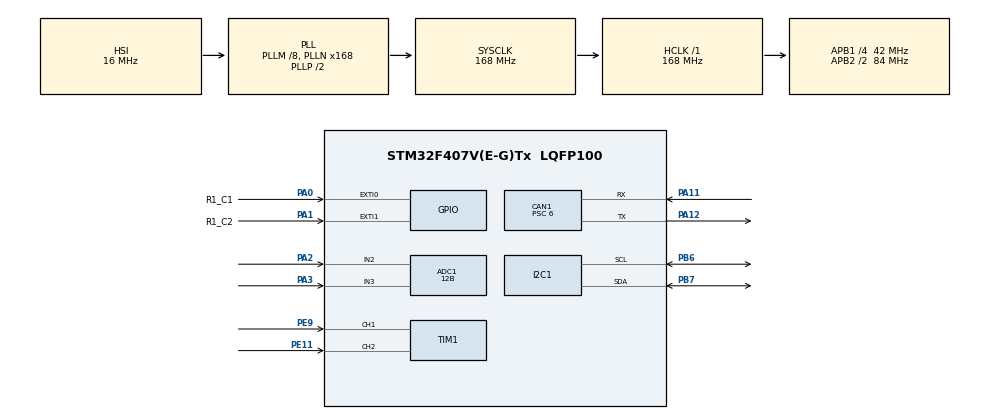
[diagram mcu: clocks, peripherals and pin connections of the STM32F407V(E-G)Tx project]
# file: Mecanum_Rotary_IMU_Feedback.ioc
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ADC1.Channel-1\#ChannelRegularConversion=ADC_CHANNEL_2
ADC1.Channel-2\#ChannelRegularConversion=ADC_CHANNEL_3
ADC1.ContinuousConvMode=ENABLE
ADC1.NbrOfConversion=2
ADC1.NbrOfConversionFlag=1
ADC1.Rank-1\#ChannelRegularConversion=1
ADC1.Rank-2\#ChannelRegularConversion=2
ADC1.Resolution=ADC_RESOLUTION_12B
ADC1.SamplingTime-1\#ChannelRegularConversion=ADC_SAMPLETIME_3CYCLES
ADC1.SamplingTime-2\#ChannelRegularConversion=ADC_SAMPLETIME_480CYCLES
ADC1.master=1
CAN1.BS1=CAN_BS1_4TQ
CAN1.BS2=CAN_BS2_2TQ
CAN1.CalculateBaudRate=1000000
CAN1.CalculateTimeBit=1000
CAN1.CalculateTimeQuantum=142.85714285714286
CAN1.Prescaler=6
Dma.ADC1.0.Direction=DMA_PERIPH_TO_MEMORY
Dma.ADC1.0.FIFOMode=DMA_FIFOMODE_DISABLE
Dma.ADC1.0.Instance=DMA2_Stream0
Dma.ADC1.0.MemDataAlignment=DMA_MDATAALIGN_HALFWORD
Dma.ADC1.0.MemInc=DMA_MINC_ENABLE
Dma.ADC1.0.Mode=DMA_CIRCULAR
Dma.ADC1.0.PeriphDataAlignment=DMA_PDATAALIGN_HALFWORD
Dma.ADC1.0.PeriphInc=DMA_PINC_DISABLE
Dma.ADC1.0.Priority=DMA_PRIORITY_LOW
Dma.Request0=ADC1
FREERTOS.Tasks01=RotaryIMU_Task,0,2100,RotaryIMU_Init,Default,NULL,Dynamic,NULL,NULL
I2C1.I2C_Mode=I2C_Fast
Mcu.Family=STM32F4
Mcu.Name=STM32F407V(E-G)Tx
Mcu.Package=LQFP100
NVIC.CAN1_RX0_IRQn=true\:5\:0\:false\:false\:true\:true\:true\:true\:true
NVIC.DMA2_Stream0_IRQn=true\:5\:0\:false\:false\:true\:true\:false\:true\:true
NVIC.EXTI0_IRQn=true\:5\:0\:false\:false\:true\:true\:true\:true\:true
NVIC.EXTI1_IRQn=true\:5\:0\:false\:false\:true\:true\:true\:true\:true
NVIC.PriorityGroup=NVIC_PRIORITYGROUP_4
NVIC.TIM3_IRQn=true\:5\:0\:false\:false\:true\:true\:true\:true\:true
NVIC.TIM6_DAC_IRQn=true\:15\:0\:false\:false\:true\:false\:false\:true\:true
NVIC.TimeBase=TIM6_DAC_IRQn
NVIC.TimeBaseIP=TIM6
PA0-WKUP.GPIO_Label=R1_C1
PA0-WKUP.GPIO_ModeDefaultEXTI=GPIO_MODE_IT_RISING_FALLING
PA0-WKUP.GPIO_PuPd=GPIO_PULLUP
PA0-WKUP.Signal=GPXTI0
PA1.GPIO_Label=R1_C2
PA1.GPIO_ModeDefaultEXTI=GPIO_MODE_IT_RISING_FALLING
PA1.GPIO_PuPd=GPIO_PULLUP
PA1.Signal=GPXTI1
PA11.Mode=CAN_Activate
PA11.Signal=CAN1_RX
PA12.Mode=CAN_Activate
PA12.Signal=CAN1_TX
PA13.Mode=Serial_Wire
PA13.Signal=SYS_JTMS-SWDIO
PA14.Mode=Serial_Wire
PA14.Signal=SYS_JTCK-SWCLK
PA2.Signal=ADCx_IN2
PA3.Signal=ADCx_IN3
PB6.Mode=I2C
PB6.Signal=I2C1_SCL
PB7.Mode=I2C
PB7.Signal=I2C1_SDA
PE11.Signal=S_TIM1_CH2
PE9.Signal=S_TIM1_CH1
PH0-OSC_IN.Mode=HSE-External-Oscillator
PH0-OSC_IN.Signal=RCC_OSC_IN
PH1-OSC_OUT.Mode=HSE-External-Oscillator
PH1-OSC_OUT.Signal=RCC_OSC_OUT
ProjectManager.HeapSize=0x200
ProjectManager.StackSize=0x400
ProjectManager.TargetToolchain=STM32CubeIDE
RCC.48MHZClocksFreq_Value=84000000
RCC.AHBFreq_Value=168000000
RCC.APB1CLKDivider=RCC_HCLK_DIV4
RCC.APB1Freq_Value=42000000
RCC.APB1TimFreq_Value=84000000
RCC.APB2CLKDivider=RCC_HCLK_DIV2
RCC.APB2Freq_Value=84000000
RCC.APB2TimFreq_Value=168000000
RCC.CortexFreq_Value=168000000
RCC.HCLKFreq_Value=168000000
RCC.HSE_VALUE=8000000
RCC.HSI_VALUE=16000000
RCC.LSE_VALUE=32768
RCC.PLLM=8
RCC.PLLN=168
RCC.SYSCLKFreq_VALUE=168000000
RCC.SYSCLKSource=RCC_SYSCLKSOURCE_PLLCLK
RCC.VCOOutputFreq_Value=336000000
SH.ADCx_IN2.0=ADC1_IN2,IN2
SH.ADCx_IN3.0=ADC1_IN3,IN3
SH.S_TIM1_CH1.0=TIM1_CH1,Encoder_Interface
SH.S_TIM1_CH2.0=TIM1_CH2,Encoder_Interface
TIM1.AutoReloadPreload=TIM_AUTORELOAD_PRELOAD_ENABLE
TIM1.EncoderMode=TIM_ENCODERMODE_TI12
TIM3.AutoReloadPreload=TIM_AUTORELOAD_PRELOAD_ENABLE
TIM3.Period=9999
TIM3.Prescaler=83
VP_FREERTOS_VS_CMSIS_V1.Mode=CMSIS_V1
VP_SYS_VS_tim6.Mode=TIM6
VP_TIM3_VS_ClockSourceINT.Mode=Internal
board=custom

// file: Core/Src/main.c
/* USER CODE BEGIN Header */
/**
  ******************************************************************************
  * @file           : main.c
  * @brief          : Main program body
  ******************************************************************************
  * @attention
  *
  * Copyright (c) 2023 STMicroelectronics.
  * All rights reserved.
  *
  * This software is licensed under terms that can be found in the LICENSE file
  * in the root directory of this software component.
  * If no LICENSE file comes with this software, it is provided AS-IS.
  *
  ******************************************************************************
  */
/* USER CODE END Header */
#include "main.h"
#include "cmsis_os.h"
#include "adc.h"
#include "can.h"
#include "dma.h"
#include "i2c.h"
#include "tim.h"
#include "gpio.h"

/* USER CODE BEGIN Includes */
#include <stdio.h>
#include "stdlib.h"
#include "math.h"
/* USER CODE END Includes */

/* USER CODE BEGIN PTD */
CAN_RxHeaderTypeDef RxHeader;
CAN_TxHeaderTypeDef TxHeader;
typedef struct{
	uint32_t counter;
	uint32_t new_counter;
	uint8_t counter_status;
	float speed;
	float rdps;
	double distant;
}Encoder;
Encoder encoder0;
Encoder encoder1;
/* USER CODE END PTD */

/* USER CODE BEGIN PD */
#define PI 3.1456
#define r 0.03 //[Radius m]
#define CPR_X 1440
#define CPR_Y 1440
#define sampling_time  10 //[10ms]
#define dt 0.01
#define rotary1 0
#define rotary2 1
/* USER CODE END PD */

/* USER CODE BEGIN PV */
//----------CAN----------------//
uint8_t TxData[6];
uint32_t TxMailbox;
uint16_t V1_out = 0;
uint16_t V2_out = 0;
uint16_t V3_out = 0;
uint16_t V4_out = 0;
uint16_t Vx = 0;
uint16_t Vy = 0;
uint16_t Omega = 0;
float Speed;

uint8_t RxData[8];
//float V;
float W1;
float W2;
float X_enR;
float Y_enR;
float Yaw_enR;
float yaw_enR;
float X_old_enR;
float Y_old_enR;
float Vx_enR;
float Vy_enR;

// CAN RX
float RxData1 = 0;
float RxData2 = 0;
float RxData3 = 0;
float RxData4 = 0;
uint8_t datacheck = 0;
uint8_t cntt;
float V1_back;
float V2_back;
float V3_back;
float V4_back;

//Varible to read Encoder through External Interrupt
float nowA[4];
float nowB[4];
float lastA[4];
float lastB[4];
float dir[4];
float cnt[4];
float Enc_count[4];
float X_distance;
float Y_distance;
float Encoder_distance;
float old_count[2];
float new_count[2];
float wheel_velocity_encoder[2];

//laser
uint16_t AD_RES[2];
uint16_t cal_adc = 0;
extern double theta;

/* USER CODE END PV */

void SystemClock_Config(void);
void MX_FREERTOS_Init(void);
/* USER CODE BEGIN PFP */
float map(float Input, float Min_Input , float Max_Input ,float Min_Output, float Max_Output){

	return (float) ((Input - Min_Input) * (Max_Output - Min_Output) / (Max_Input - Min_Input) + Min_Output);
}

void HAL_CAN_RxFifo0MsgPendingCallback(CAN_HandleTypeDef *hcan) {
	HAL_CAN_GetRxMessage(hcan, CAN_RX_FIFO0, &RxHeader, RxData);
	cntt++;
	while (cntt - 100 > 0) {
		//HAL_GPIO_TogglePin(GPIOC, GPIO_PIN_13);
		cntt = 0;
	}

	if (RxHeader.StdId == 0x215) {
			RxData1 = (RxData[0] << 8) | RxData[1];
			RxData2 = (RxData[2] << 8) | RxData[3];
			V1_back = map(RxData1, 0, 65535, -30.0, 30.0);
			V2_back = map(RxData2, 0, 65535, -30.0, 30.0);
			datacheck = 1;
	}
	else if (RxHeader.StdId == 0x211) {
			RxData3 = (RxData[0] << 8) | RxData[1];
			RxData4 = (RxData[2] << 8) | RxData[3];
			V3_back = map(RxData3, 0, 65535, -30.0, 30.0);
			V4_back = map(RxData4, 0, 65535, -30.0, 30.0);
			datacheck = 1;
	}
}

float encoder(int i)
{
	if (nowA[i] != lastA[i])
	{
		lastA[i] = nowA[i];
		if (lastA[i] == 0)
		{
			if (nowB[i] == 0)
			{
				dir[i] = 0;
				cnt[i]--;
			}
			else
			{
				dir[i] = 1;
				cnt[i]++;
			}
		}
		else
		{
			if (nowB[i] == 1)
			{
				dir[i] = 0;
				cnt[i]--;
			}
			else
			{
				dir[i] = 1;
				cnt[i]++;
			}
		}
	}
	if (nowB[i] != lastB[i])
	{
		lastB[i] = nowB[i];
		if (lastB[i] == 0)
		{
			if (nowA[i] == 1)
			{
				dir[i] = 0;
				cnt[i]--;
			}
			else
			{
				dir[i] = 1;
				cnt[i]++;
			}
		}
		else
		{
			if (nowA[i] == 0)
			{
				dir[i] = 0;
				cnt[i]--;
			}
			else
			{
				dir[i] = 1;
				cnt[i]++;
			}
		}
	}
	return cnt[i];
}

float Speed_encoder(int i, float CPR)
{
	new_count[i] = Enc_count[i];
	wheel_velocity_encoder[i] = (2.0 *PI *(new_count[i] - old_count[i]) * r) / (CPR * dt);
	old_count[i] = new_count[i];
	return wheel_velocity_encoder[i];
}
void read_encoder(Encoder *enc, TIM_HandleTypeDef* timer){
	enc->new_counter = __HAL_TIM_GET_COUNTER(timer);
	enc->counter_status = __HAL_TIM_IS_TIM_COUNTING_DOWN(timer);
	int16_t count_change = enc->new_counter - enc->counter;
	if(enc->counter_status && count_change <0){
		count_change += 65536;
	}else if (!enc->counter_status && count_change > 0){
		count_change -= 65536;
	}
	enc->counter = enc->new_counter;
	enc->counter_status = (count_change >=0);
	enc->speed = (float)count_change*1000.0f/(CPR_X * sampling_time);
	enc->rdps = (float)count_change*2*PI*1000.0f/(CPR_X * sampling_time);
}
/* USER CODE END PFP */

int main(void)
{

  /* MCU Configuration--------------------------------------------------------*/

  /* Reset of all peripherals, Initializes the Flash interface and the Systick. */
  HAL_Init();

  /* Configure the system clock */
  SystemClock_Config();

  /* Initialize all configured peripherals */
  MX_GPIO_Init();
  MX_DMA_Init();
  MX_CAN1_Init();
  MX_I2C1_Init();
  MX_TIM3_Init();
  MX_TIM1_Init();
  MX_ADC1_Init();
  /* USER CODE BEGIN 2 */

  // CAN _Transmition
  	HAL_CAN_Start(&hcan1);
  	HAL_CAN_ActivateNotification(&hcan1, CAN_IT_RX_FIFO0_MSG_PENDING);
  	TxHeader.DLC =6; // data length
  	TxHeader.IDE = CAN_ID_STD;
  	TxHeader.RTR = CAN_RTR_DATA;
  	TxHeader.StdId = 0x407; //Id 0x7FF
  	// TIMER Internal clock
  	HAL_TIM_Encoder_Start(&htim1,TIM_CHANNEL_ALL);
  	HAL_TIM_Base_Start_IT(&htim3);

  	//ADC
//  	HAL_ADCEx_(&hadc1);
//  	HAL_ADC_Start_DMA(&hadc1, &AD_RES, 2);
  /* USER CODE END 2 */

  /* Call init function for freertos objects (in freertos.c) */
  MX_FREERTOS_Init();

  /* Start scheduler */
  osKernelStart();
  /* We should never get here as control is now taken by the scheduler */
  /* Infinite loop */
  while (1)
  {

  }
}

void SystemClock_Config(void)
{
  RCC_OscInitTypeDef RCC_OscInitStruct = {0};
  RCC_ClkInitTypeDef RCC_ClkInitStruct = {0};

  /** Configure the main internal regulator output voltage
  */
  __HAL_RCC_PWR_CLK_ENABLE();
  __HAL_PWR_VOLTAGESCALING_CONFIG(PWR_REGULATOR_VOLTAGE_SCALE1);

  /** Initializes the RCC Oscillators according to the specified parameters
  * in the RCC_OscInitTypeDef structure.
  */
  RCC_OscInitStruct.OscillatorType = RCC_OSCILLATORTYPE_HSI;
  RCC_OscInitStruct.HSIState = RCC_HSI_ON;
  RCC_OscInitStruct.HSICalibrationValue = RCC_HSICALIBRATION_DEFAULT;
  RCC_OscInitStruct.PLL.PLLState = RCC_PLL_ON;
  RCC_OscInitStruct.PLL.PLLSource = RCC_PLLSOURCE_HSI;
  RCC_OscInitStruct.PLL.PLLM = 8;
  RCC_OscInitStruct.PLL.PLLN = 168;
  RCC_OscInitStruct.PLL.PLLP = RCC_PLLP_DIV2;
  RCC_OscInitStruct.PLL.PLLQ = 4;
  if (HAL_RCC_OscConfig(&RCC_OscInitStruct) != HAL_OK)
  {
    Error_Handler();
  }

  /** Initializes the CPU, AHB and APB buses clocks
  */
  RCC_ClkInitStruct.ClockType = RCC_CLOCKTYPE_HCLK|RCC_CLOCKTYPE_SYSCLK
                              |RCC_CLOCKTYPE_PCLK1|RCC_CLOCKTYPE_PCLK2;
  RCC_ClkInitStruct.SYSCLKSource = RCC_SYSCLKSOURCE_PLLCLK;
  RCC_ClkInitStruct.AHBCLKDivider = RCC_SYSCLK_DIV1;
  RCC_ClkInitStruct.APB1CLKDivider = RCC_HCLK_DIV4;
  RCC_ClkInitStruct.APB2CLKDivider = RCC_HCLK_DIV2;

  if (HAL_RCC_ClockConfig(&RCC_ClkInitStruct, FLASH_LATENCY_5) != HAL_OK)
  {
    Error_Handler();
  }
}

/* USER CODE BEGIN 4 */
void HAL_GPIO_EXTI_Callback(uint16_t GPIO_Pin)
{
	// ENCODER Rotary 1
	if (GPIO_Pin == R1_C1_Pin || R1_C2_Pin)
	{
		nowA[0] = HAL_GPIO_ReadPin(R1_C1_GPIO_Port, R1_C1_Pin);
		nowB[0] = HAL_GPIO_ReadPin(R1_C2_GPIO_Port, R1_C2_Pin);
		Enc_count[0] = encoder(0);

	}
	// ENCODER Rotary 2
//	if (GPIO_Pin == E2_C1_Pin || E2_C2_Pin)
//	{
//		nowA[1] = HAL_GPIO_ReadPin(E2_C1_GPIO_Port, E2_C1_Pin);
//		nowB[1] = HAL_GPIO_ReadPin(E2_C2_GPIO_Port, E2_C2_Pin);
//		Enc_count[1] = encoder(1);
//	}

}
/* USER CODE END 4 */

void HAL_TIM_PeriodElapsedCallback(TIM_HandleTypeDef *htim)
{
  /* USER CODE BEGIN Callback 0 */
	if (htim->Instance == TIM3)
	  {
		read_encoder(&encoder0, &htim1);
		W1 = -1*Speed_encoder(rotary1, CPR_X);
		W2 = encoder0.rdps * r;
		Vx_enR = W1 * cosf(theta) - W2 * sinf(theta);
		Vy_enR = W1 * sinf(theta) + W2 * cosf(theta);

		X_enR = X_old_enR + Vx_enR * dt;
		Y_enR = Y_old_enR + Vy_enR * dt;
		X_old_enR = X_enR;
		Y_old_enR = Y_enR;

		Vx = map(Vx_enR, -30.0, 30.0, 0, 65535);
		Vy = map(Vy_enR, -30.0, 30.0, 0, 65535);
		Omega = map(theta, -6.28, 6.28, 0, 65535);

		TxData[0] = ((Vx & 0xFF00) >> 8);
		TxData[1] = (Vx & 0x00FF);
		TxData[2] = ((Vy & 0xFF00) >> 8);
		TxData[3] = (Vy & 0x00FF);
		TxData[4] = ((Omega & 0xFF00) >> 8);
		TxData[5] = (Omega & 0x00FF);

		HAL_CAN_AddTxMessage(&hcan1, &TxHeader, TxData, &TxMailbox);
	  }
  /* USER CODE END Callback 0 */
  if (htim->Instance == TIM6) {
    HAL_IncTick();
  }
}

void Error_Handler(void)
{
  __disable_irq();
  while (1)
  {
  }
}

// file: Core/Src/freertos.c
/* USER CODE BEGIN Header */
/**
  ******************************************************************************
  * File Name          : freertos.c
  * Description        : Code for freertos applications
  ******************************************************************************
  * @attention
  *
  * Copyright (c) 2023 STMicroelectronics.
  * All rights reserved.
  *
  * This software is licensed under terms that can be found in the LICENSE file
  * in the root directory of this software component.
  * If no LICENSE file comes with this software, it is provided AS-IS.
  *
  ******************************************************************************
  */
/* USER CODE END Header */

#include "FreeRTOS.h"
#include "task.h"
#include "main.h"
#include "cmsis_os.h"

/* USER CODE BEGIN Includes */
#include "tim.h"
#include "i2c.h"
#include "ssd1306.h"
#include "bno055_stm32.h"
#include "bno055.h"
#include "fonts.h"
#include "math.h"
#include "IIRFilter.h"
#include <stdio.h>
#include "stdlib.h"
/* USER CODE END Includes */

/* USER CODE BEGIN PTD */
typedef struct {
	double Roll;
	double Pitch;
	double Yaw;
}Rotation;

Rotation Angle;
bno055_vector_t V;
bno055_vector_t Q;
/* USER CODE END PTD */

/* USER CODE BEGIN PD */

//Wheel
#define R 0.05
#define lx 0.165  //m
#define ly 0.225  //m
#define d1 0.05
#define d2 0.15

//IMU

/* USER CODE END PD */

/* USER CODE BEGIN Variables */

// IMU
float Radian;
double sinr_cosp;
double cosr_cosp;
double sinp;
double siny_cosp;
double cosy_cosp;
double Heading;
double previous_heading =0.0;
float heading;
double theta;
//float theta;
double angle; // Angle in degrees
double radians;

/*Apply Method IIRfilter*/

float gyroFiltered[3];
float accelFiltered[3];

IIRFilter gyroADC[3];
IIRFilter accelADC[3];

float acc[3];
float gyr[3];
uint8_t Data;
uint8_t Check;

/* USER CODE END Variables */
osThreadId RotaryIMU_TaskHandle;

/* USER CODE BEGIN FunctionPrototypes */
float Map(float Input, float Min_Input , float Max_Input ,float Min_Output, float Max_Output){

	return (float) ((Input - Min_Input) * (Max_Output - Min_Output) / (Max_Input - Min_Input) + Min_Output);
}

//void read_encoder(Encoder *enc, TIM_HandleTypeDef* timer){
//	enc->new_counter = __HAL_TIM_GET_COUNTER(timer);
//	enc->counter_status = __HAL_TIM_IS_TIM_COUNTING_DOWN(timer);
//	int16_t count_change = enc->new_counter - enc->counter;
//	if(enc->counter_status && count_change <0){
//		count_change += 65536;
//	}else if (!enc->counter_status && count_change > 0){
//		count_change -= 65536;
//	}
//	enc->counter = enc->new_counter;
//	enc->counter_status = (count_change >=0);
//	enc->speed = (float)count_change*1000.0f/(CPR_X * sampling_time);
//	enc->rdps = (float)count_change*2*PI*1000.0f/(CPR_X * sampling_time);
//}

/* USER CODE END FunctionPrototypes */

void RotaryIMU_Init(void const * argument);

void MX_FREERTOS_Init(void); /* (MISRA C 2004 rule 8.1) */

/* GetIdleTaskMemory prototype (linked to static allocation support) */
void vApplicationGetIdleTaskMemory( StaticTask_t **ppxIdleTaskTCBBuffer, StackType_t **ppxIdleTaskStackBuffer, uint32_t *pulIdleTaskStackSize );

/* USER CODE BEGIN GET_IDLE_TASK_MEMORY */
static StaticTask_t xIdleTaskTCBBuffer;
static StackType_t xIdleStack[configMINIMAL_STACK_SIZE];

void vApplicationGetIdleTaskMemory( StaticTask_t **ppxIdleTaskTCBBuffer, StackType_t **ppxIdleTaskStackBuffer, uint32_t *pulIdleTaskStackSize )
{
  *ppxIdleTaskTCBBuffer = &xIdleTaskTCBBuffer;
  *ppxIdleTaskStackBuffer = &xIdleStack[0];
  *pulIdleTaskStackSize = configMINIMAL_STACK_SIZE;
  /* place for user code */
}
/* USER CODE END GET_IDLE_TASK_MEMORY */

void MX_FREERTOS_Init(void) {

  /* Create the thread(s) */
  /* definition and creation of RotaryIMU_Task */
  osThreadDef(RotaryIMU_Task, RotaryIMU_Init, osPriorityNormal, 0, 2100);
  RotaryIMU_TaskHandle = osThreadCreate(osThread(RotaryIMU_Task), NULL);

}

void RotaryIMU_Init(void const * argument)
{
  /* USER CODE BEGIN RotaryIMU_Init */
	bno055_assignI2C(&hi2c1);
	bno055_setup();
	bno055_setOperationModeNDOF();

  /* Infinite loop */
  for(;;)
  {
	  // Qauternion_to_Euler(Angle);
		Q = bno055_getVectorQuaternion();
		// yaw (z-axis rotation)
		siny_cosp = 2 * (Q.w * Q.z + Q.x * Q.y);
		cosy_cosp = 1 - 2 * (Q.y * Q.y + Q.z * Q.z);
		Angle.Yaw = atan2(siny_cosp, cosy_cosp);
		theta = Angle.Yaw;
    osDelay(10);
  }
  /* USER CODE END RotaryIMU_Init */
}
